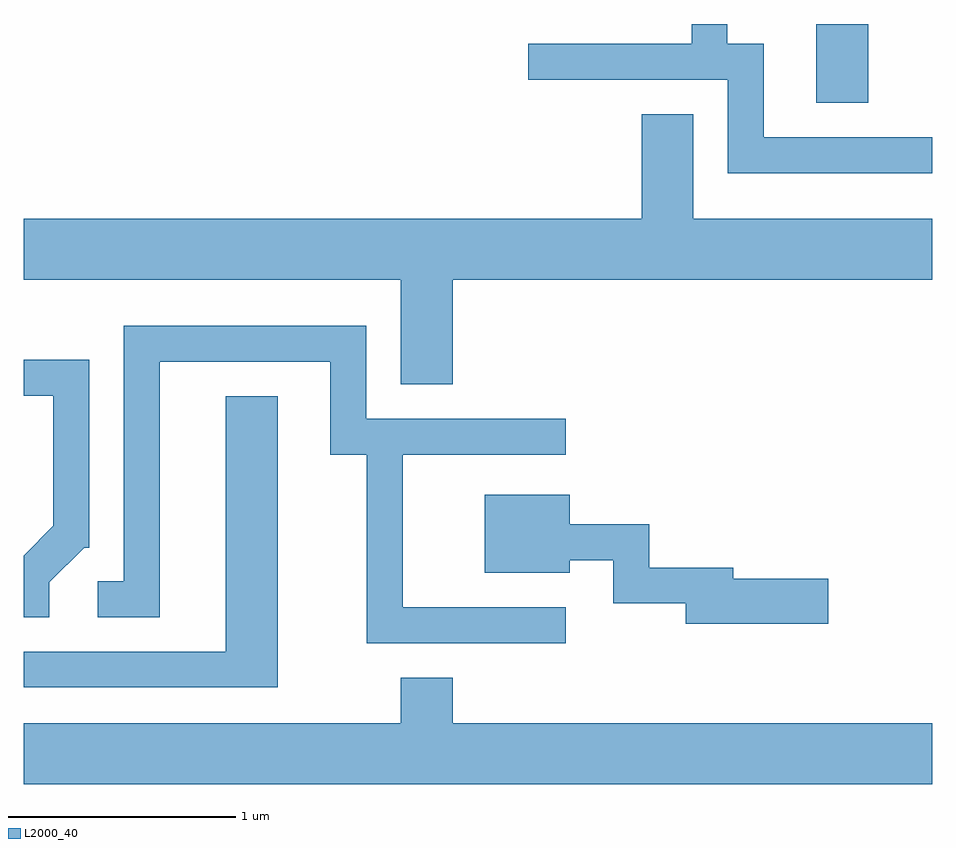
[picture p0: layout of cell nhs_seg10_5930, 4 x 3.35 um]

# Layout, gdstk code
import gdstk
lib = gdstk.Library(unit=1e-6, precision=1e-09)
def R(c, l, rs):  # rectangles x0, y0, x1, y1
    for r in rs: c.add(gdstk.rectangle(r[:2], r[2:], *l))
def P(c, l, *ps):  # polygons
    for p in ps: c.add(gdstk.Polygon(p, *l))
L2000_40 = (2000, 40)

nhs_seg10_5930 = lib.new_cell('nhs_seg10_5930')
R(nhs_seg10_5930, L2000_40, [(363.101,2190.176,363.329,2190.522)])
P(nhs_seg10_5930, L2000_40, [(363.611,2190.024),(362.869,2190.024),(362.869,2190.434),(362.709,2190.434),(362.709,2190.522),(362.551,2190.522),(362.551,2190.434),(361.833,2190.434),(361.833,2190.276),(362.711,2190.276),(362.711,2189.866),(363.611,2189.866)],
  [(361.499,2189.396),(363.611,2189.396),(363.611,2189.664),(362.559,2189.664),(362.559,2190.124),(362.331,2190.124),(362.331,2189.664),(359.611,2189.664),(359.611,2189.396),(361.271,2189.396),(361.271,2188.936),(361.499,2188.936)],
  [(361.998,2187.954),(361.279,2187.954),(361.279,2188.626),(361.998,2188.626),(361.998,2188.784),(361.119,2188.784),(361.119,2189.194),(360.051,2189.194),(360.051,2188.069),(359.938,2188.069),(359.938,2187.911),(360.209,2187.911),(360.209,2189.036),(360.961,2189.036),(360.961,2188.626),(361.121,2188.626),(361.121,2187.796),(361.998,2187.796)],
  [(359.724,2188.064),(359.877,2188.216),(359.899,2188.216),(359.899,2189.044),(359.611,2189.044),(359.611,2188.886),(359.741,2188.886),(359.741,2188.312),(359.611,2188.182),(359.611,2187.911),(359.724,2187.911)],
  [(360.729,2188.884),(360.501,2188.884),(360.501,2187.759),(359.611,2187.759),(359.611,2187.601),(360.729,2187.601)],
  [(363.154,2188.079),(362.734,2188.079),(362.734,2188.129),(362.364,2188.129),(362.364,2188.319),(362.014,2188.319),(362.014,2188.449),(361.641,2188.449),(361.641,2188.106),(362.014,2188.106),(362.014,2188.161),(362.206,2188.161),(362.206,2187.971),(362.526,2187.971),(362.526,2187.881),(363.154,2187.881)],
  [(363.611,2187.444),(361.499,2187.444),(361.499,2187.644),(361.271,2187.644),(361.271,2187.444),(359.611,2187.444),(359.611,2187.176),(363.611,2187.176)])

lib.write_gds('nhs_seg10_5930.gds')
